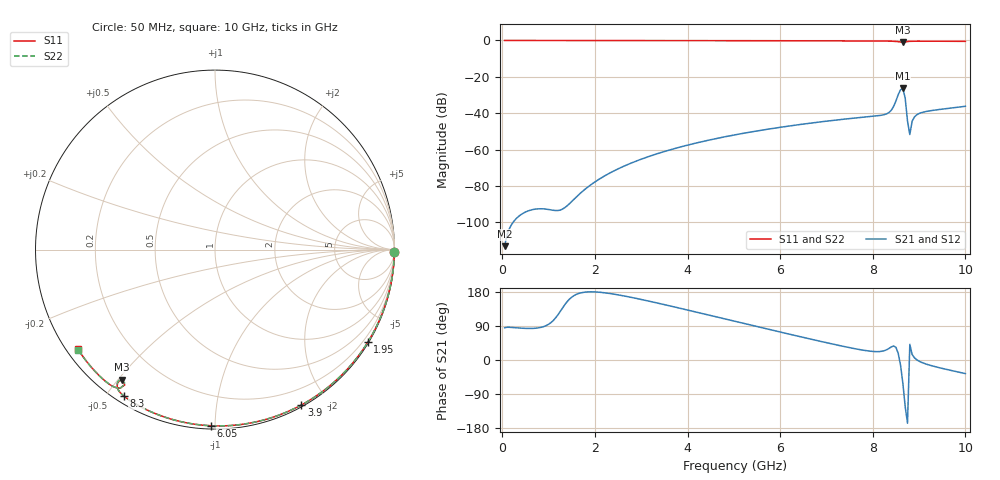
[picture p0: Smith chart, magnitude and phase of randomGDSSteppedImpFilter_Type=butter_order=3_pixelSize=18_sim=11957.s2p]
! freq	dB(S11)	phase(S11)	dB(S12)	phase(S12)
!  dB(S21)	phase(S21)	dB(S22)	phase(S22)
!S-par simulation data
#  GHz  S  DB  R 50
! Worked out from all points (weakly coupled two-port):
!   200 points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, 50 MHz to 10 GHz, reference 50 ohm
!   highest |S21| = -26.41 dB at 8.65 GHz (marker M1); lowest = -113.1 dB at 50 MHz (marker M2)
!   lowest |S11| = -1.0 dB at 8.65 GHz (marker M3), VSWR 17.45, Z = 3.62 - j25.6 ohm
!   |S11| at or under -10 dB: nowhere
!   |S22| runs from -1.0 to 0.0 dB; largest |S21 - S12| = 0
!   S11 on the Smith chart (normalised r, x): 50 MHz: open; 1.95 GHz: 0.03, -3.57; 3.9 GHz: 0.02, -1.70; 6.05 GHz: 0.02, -0.98; 8.3 GHz: 0.03, -0.55; 10 GHz: 0.03, -0.33
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0.05  -0.01 -0.8  -113.08 85.1  -113.08 85.1  -0.01 -0.8
1.75  -0.04 -28.1  -82.57 178.4  -82.57 178.4  -0.04 -28.1
1.85  -0.04 -29.7  -80.52 179.7  -80.52 179.7  -0.04 -29.7
1.95  -0.04 -31.3  -78.64 179.9  -78.64 179.9  -0.04 -31.3
2.55  -0.05 -40.6  -69.98 170.8  -69.98 170.8  -0.05 -40.6
3.4  -0.07 -53.5  -61.82 148.9  -61.82 148.9  -0.07 -53.5
3.9  -0.08 -61.0  -58.19 134.8  -58.19 134.8  -0.08 -61.0
5.05  -0.12 -77.5  -51.76 101.4  -51.76 101.4  -0.12 -77.5
6.05  -0.16 -91.3  -47.56 72.4  -47.56 72.4  -0.16 -91.3
6.7  -0.19 -100.1  -45.31 54.0  -45.31 54.0  -0.19 -100.0
8.3  -0.35 -122.0  -40.33 27.1  -40.33 27.1  -0.34 -121.9
8.35  -0.37 -122.8  -39.62 30.5  -39.62 30.5  -0.36 -122.8
8.45  -0.46 -124.6  -36.28 37.0  -36.28 37.0  -0.44 -124.5
8.6  -0.83 -126.1  -27.10 -13.8  -27.10 -13.8  -0.78 -126.4
8.65  -1.00 -125.6  -26.41 -61.8  -26.41 -61.8  -1.01 -126.2
8.7  -0.86 -123.7  -31.72 -123.0  -31.72 -123.0  -0.92 -123.8
8.75  -0.59 -124.4  -44.31 -166.8  -44.31 -166.8  -0.61 -124.3
8.8  -0.48 -125.5  -51.70 41.4  -51.70 41.4  -0.50 -125.4
8.85  -0.44 -126.6  -44.40 14.4  -44.40 14.4  -0.45 -126.5
8.9  -0.42 -127.5  -42.04 5.8  -42.04 5.8  -0.42 -127.4
9  -0.41 -129.2  -40.17 -3.1  -40.17 -3.1  -0.41 -129.1
10  -0.50 -143.9  -36.19 -35.9  -36.19 -35.9  -0.50 -143.8
